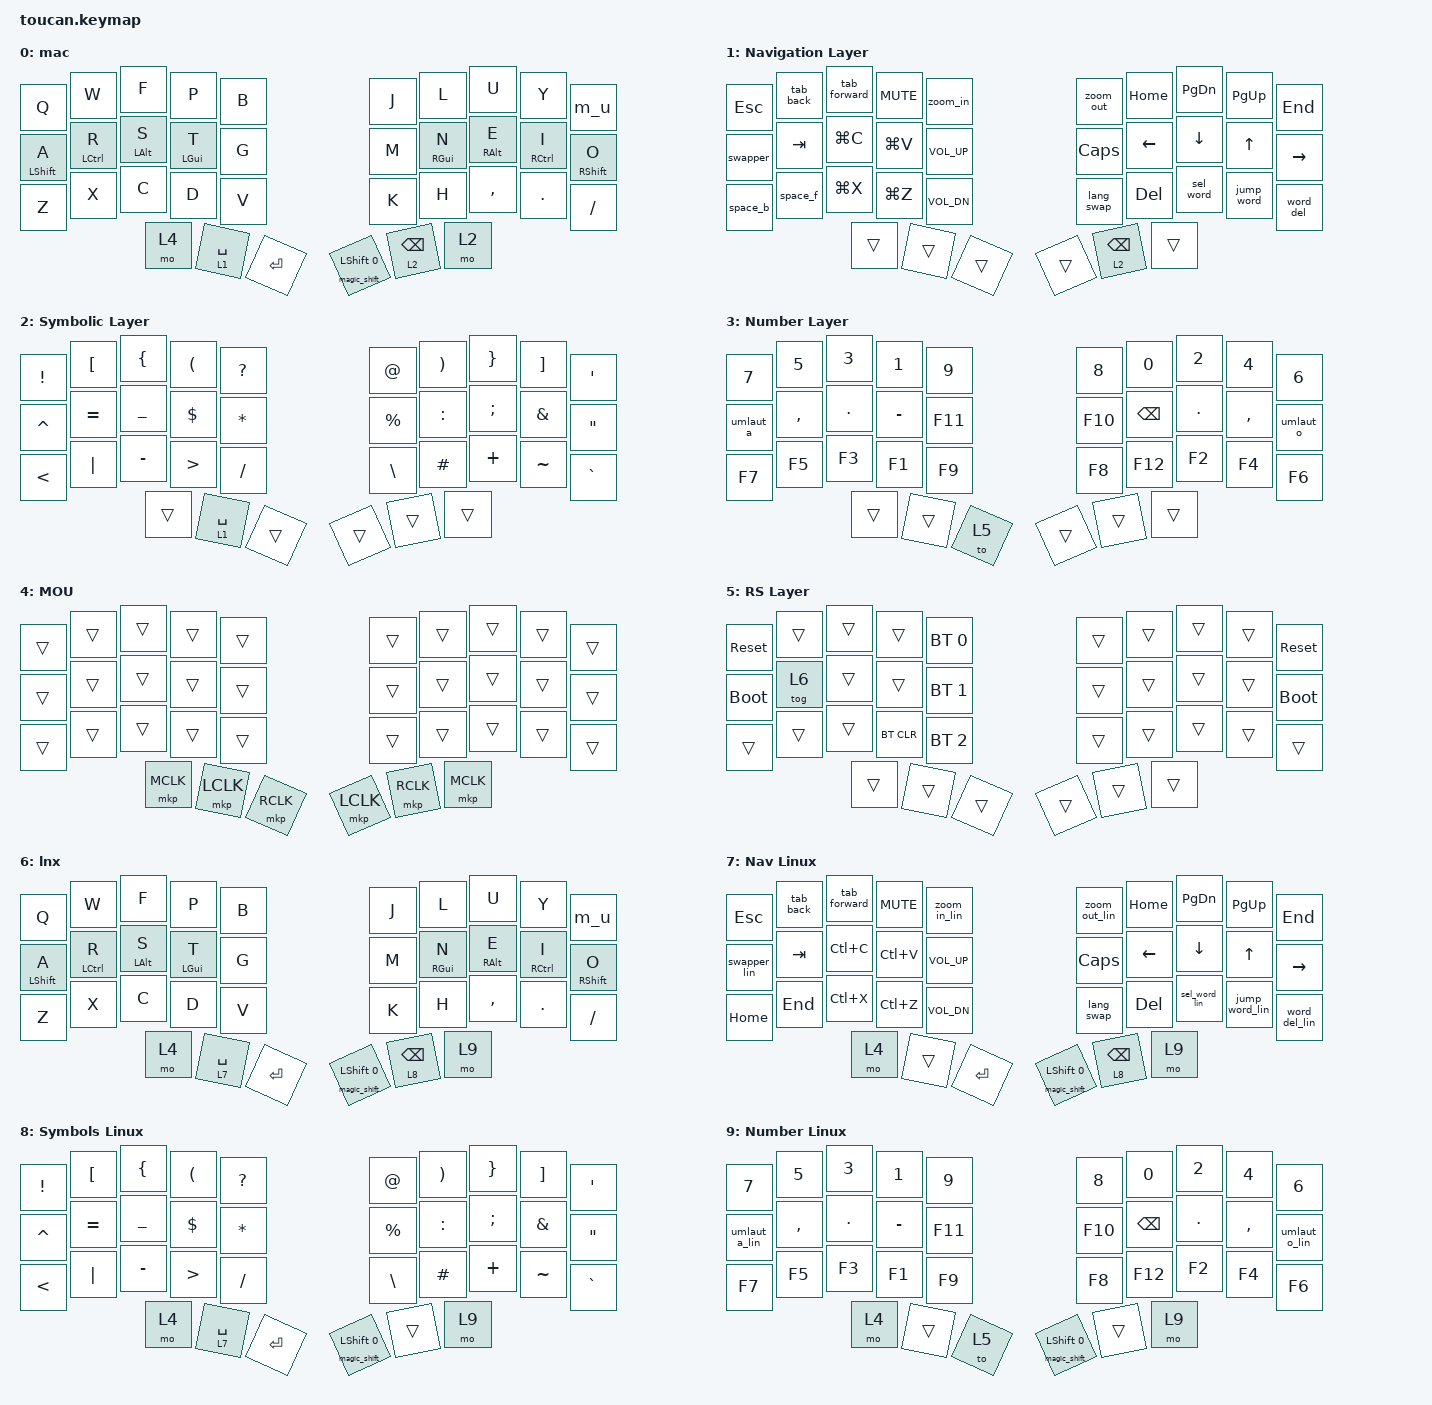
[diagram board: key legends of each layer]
// Copyright (c) 2022 The ZMK Contributors
// SPDX-License-Identifier: MIT

#include <behaviors.dtsi>
#include "zmk-helpers/helper.h"
#include <dt-bindings/zmk/keys.h>
#include <dt-bindings/zmk/bt.h>
#include <dt-bindings/zmk/pointing.h>
#include <dt-bindings/zmk/outputs.h>
#include "toucan_keys.h"
#include "combos.dtsi"

#define KEYS_L   LT4 LT3 LT2 LT1 LT0 LM4 LM3 LM2 LM1 LM0 LB4 LB3 LB2 LB1 LB0
#define KEYS_R   RT0 RT1 RT2 RT3 RT4 RM0 RM1 RM2 RM3 RM4 RB0 RB1 RB2 RB3 RB4
#define THUMBS   LH1 LH0 LHx RH0 RH1 RHx

#define QUICK_TAP_MS 175

#define MAKE_HRM(NAME, HOLD, TAP, TRIGGER_POS)                                 \
  ZMK_HOLD_TAP(NAME, bindings = <HOLD>, <TAP>; flavor = "balanced";            \
               tapping-term-ms = <280>; quick-tap-ms = <QUICK_TAP_MS>;         \
               require-prior-idle-ms = <80>; hold-trigger-on-release;         \
               hold-trigger-key-positions = <TRIGGER_POS>;)

MAKE_HRM(hml, &kp, &kp, KEYS_R THUMBS) // Left-hand HRMs.
MAKE_HRM(hmr, &kp, &kp, KEYS_L THUMBS) // Right-hand HRMs.
#define MAKE_HRM_NO_RELEASE(NAME, HOLD, TAP, TRIGGER_POS)                                 \
  ZMK_HOLD_TAP(NAME, bindings = <HOLD>, <TAP>; flavor = "balanced";            \
               tapping-term-ms = <280>; quick-tap-ms = <QUICK_TAP_MS>;         \
               require-prior-idle-ms = <80>;                                  \
               hold-trigger-key-positions = <TRIGGER_POS>;)
MAKE_HRM_NO_RELEASE(hml2, &kp, &kp, KEYS_R THUMBS) // Left-hand HRMs without hold-trigger-on-release

#define MAGIC_SHIFT &magic_shift LSHFT 0

ZMK_HOLD_TAP(magic_shift, bindings = <&kp>, <&magic_shift_tap>;
             flavor = "balanced"; tapping-term-ms = <200>;
             quick-tap-ms = <175>;)

ZMK_MOD_MORPH(magic_shift_tap, bindings = <&shift_repeat>, <&caps_word>;
              mods = <(MOD_LSFT)>;)

ZMK_ADAPTIVE_KEY(
    shift_repeat, bindings = <&sk LSHFT>;
    repeat {
      trigger-keys = <A B C D E F G H I J K L M N O P Q R S T U V W X Y Z>;
      bindings = <&key_repeat>;
      max-prior-idle-ms = <1200>;
      strict-modifiers;
    };)

&caps_word {
  continue-list = <UNDERSCORE MINUS BACKSPACE>;
  /delete-property/ ignore-modifiers;
};

ZMK_TRI_STATE(swapper, bindings = <&kt LGUI>, <&kp TAB>, <&kt LGUI>;
              ignored-key-positions = <LT2 RM1 RM2 RM3 RM4>;)

// language swap in macos
ZMK_TRI_STATE(lang_swap, bindings = <&kt LCTRL>, <&kp SPACE>, <&kt LCTRL>;
              ignored-key-positions = <RB4>;)

// Linux window switcher (Alt+Tab)
ZMK_TRI_STATE(swapper_lin, bindings = <&kt LALT>, <&kp TAB>, <&kt LALT>;
              ignored-key-positions = <LT2 RM1 RM2 RM3 RM4>;)

/ {
    behaviors {
        m_u: minus_underscore {
            compatible = "zmk,behavior-mod-morph";
            #binding-cells = <0>;
            bindings = <&kp MINUS>, <&kp UNDERSCORE>;
            mods = <(MOD_LSFT|MOD_RSFT)>;
        };

        lt: layer_tap {
            compatible = "zmk,behavior-hold-tap";
            #binding-cells = <2>;
            flavor = "tap-preferred";
            tapping-term-ms = <280>;
            quick-tap-ms = <175>;
            require-prior-idle-ms = <120>;
            bindings = <&mo>, <&kp>;
            display-name = "Layer-Tap";
        };

        jump_word: jump_word {
            compatible = "zmk,behavior-mod-morph";
            #binding-cells = <0>;
            bindings = <&jump_word_f>, <&jump_word_b>;
            mods = <(MOD_LSFT|MOD_RSFT)>;
        };

        sel_word: sel_word {
            compatible = "zmk,behavior-mod-morph";
            #binding-cells = <0>;
            bindings = <&sel_word_f>, <&sel_word_b>;
            mods = <(MOD_LSFT|MOD_RSFT)>;
        };

        jump_word_lin: jump_word_lin {
            compatible = "zmk,behavior-mod-morph";
            #binding-cells = <0>;
            bindings = <&jump_word_f_lin>, <&jump_word_b_lin>;
            mods = <(MOD_LSFT|MOD_RSFT)>;
        };

        sel_word_lin: sel_word_lin {
            compatible = "zmk,behavior-mod-morph";
            #binding-cells = <0>;
            bindings = <&sel_word_f_lin>, <&sel_word_b_lin>;
            mods = <(MOD_LSFT|MOD_RSFT)>;
        };

    };

    macros {
        tab_forward: tab_forward {
            compatible = "zmk,behavior-macro";
            #binding-cells = <0>;
            bindings
                = <&macro_press &kp LCTRL &kp TAB>
                , <&macro_pause_for_release>
                , <&macro_release &kp LCTRL &kp TAB>
                ;
        };

        tab_back: tab_back {
            compatible = "zmk,behavior-macro";
            #binding-cells = <0>;
            bindings
                = <&macro_press &kp LCTRL &kp LSHFT>
                , <&macro_press &kp TAB>
                , <&macro_pause_for_release>
                , <&macro_release &kp TAB>
                , <&macro_release &kp LCTRL &kp LSHFT>
                ;
        };

        space_b: space_b {
            compatible = "zmk,behavior-macro";
            #binding-cells = <0>;
            bindings
                = <&macro_press &kp LCTRL &kp LEFT>
                , <&macro_pause_for_release>
                , <&macro_release &kp LCTRL &kp LEFT>
                ;
        };

        space_f: space_f {
            compatible = "zmk,behavior-macro";
            #binding-cells = <0>;
            bindings
                = <&macro_press &kp LCTRL &kp RIGHT>
                , <&macro_pause_for_release>
                , <&macro_release &kp LCTRL &kp RIGHT>
                ;
        };

        jump_word_f: jump_word_f {
            compatible = "zmk,behavior-macro";
            #binding-cells = <0>;
            bindings
                = <&macro_press &kp LALT &kp RIGHT>
                , <&macro_pause_for_release>
                , <&macro_release &kp LALT &kp RIGHT>
                ;
        };

        jump_word_b: word_b {
            compatible = "zmk,behavior-macro";
            #binding-cells = <0>;
            bindings
                = <&macro_press &kp LALT &kp LEFT>
                , <&macro_pause_for_release>
                , <&macro_release &kp LALT &kp LEFT>
                ;
        };

        sel_word_f: sel_word_f {
            compatible = "zmk,behavior-macro";
            #binding-cells = <0>;
            bindings
                = <&macro_press &kp LSHFT &kp LALT &kp RIGHT>
                , <&macro_pause_for_release>
                , <&macro_release &kp LSHFT &kp LALT &kp RIGHT>
                ;
        };

        sel_word_b: sel_word_b {
            compatible = "zmk,behavior-macro";
            #binding-cells = <0>;
            bindings
                = <&macro_press &kp LSHFT &kp LALT &kp LEFT>
                , <&macro_wait_time 5>
                , <&macro_pause_for_release>
                , <&macro_release &kp LSHFT &kp LALT &kp LEFT>
                ;
        };

        word_del: word_del {
            compatible = "zmk,behavior-macro";
            #binding-cells = <0>;
            bindings
                = <&macro_press &kp LCTRL>
                , <&macro_tap &kp W>
                , <&macro_release &kp LCTRL>
                ;
        };

        zoom_in: zoom_in {
            compatible = "zmk,behavior-macro";
            #binding-cells = <0>;
            bindings
                = <&macro_press &kp LGUI>
                , <&macro_tap &kp PLUS>
                , <&macro_release &kp LGUI>
                ;
        };

        zoom_out: zoom_out {
            compatible = "zmk,behavior-macro";
            #binding-cells = <0>;
            bindings
                = <&macro_press &kp LGUI>
                , <&macro_tap &kp MINUS>
                , <&macro_release &kp LGUI>
                ;
        };


        // these work only on macOS
        umlaut_a: umlaut_a {
            compatible = "zmk,behavior-macro";
            #binding-cells = <0>;
            bindings
                = <&macro_press &kp LALT>
                , <&macro_tap &kp U>
                , <&macro_release &kp LALT>
                , <&macro_tap &kp A>
                ;
        };

        umlaut_o: umlaut_o {
            compatible = "zmk,behavior-macro";
            #binding-cells = <0>;
            bindings
                = <&macro_press &kp LALT>
                , <&macro_tap &kp U>
                , <&macro_release &kp LALT>
                , <&macro_tap &kp O>
                ;
        };

        // Linux-specific macros (Ctrl-based shortcuts, Compose umlauts)
        zoom_in_lin: zoom_in_lin {
            compatible = "zmk,behavior-macro";
            #binding-cells = <0>;
            bindings
                = <&macro_press &kp LCTRL>
                , <&macro_tap &kp PLUS>
                , <&macro_release &kp LCTRL>
                ;
        };

        zoom_out_lin: zoom_out_lin {
            compatible = "zmk,behavior-macro";
            #binding-cells = <0>;
            bindings
                = <&macro_press &kp LCTRL>
                , <&macro_tap &kp MINUS>
                , <&macro_release &kp LCTRL>
                ;
        };

        jump_word_f_lin: jump_word_f_lin {
            compatible = "zmk,behavior-macro";
            #binding-cells = <0>;
            bindings
                = <&macro_press &kp LCTRL &kp RIGHT>
                , <&macro_pause_for_release>
                , <&macro_release &kp LCTRL &kp RIGHT>
                ;
        };

        jump_word_b_lin: word_b_lin {
            compatible = "zmk,behavior-macro";
            #binding-cells = <0>;
            bindings
                = <&macro_press &kp LCTRL &kp LEFT>
                , <&macro_pause_for_release>
                , <&macro_release &kp LCTRL &kp LEFT>
                ;
        };

        sel_word_f_lin: sel_word_f_lin {
            compatible = "zmk,behavior-macro";
            #binding-cells = <0>;
            bindings
                = <&macro_press &kp LSHFT &kp LCTRL &kp RIGHT>
                , <&macro_pause_for_release>
                , <&macro_release &kp LSHFT &kp LCTRL &kp RIGHT>
                ;
        };

        sel_word_b_lin: sel_word_b_lin {
            compatible = "zmk,behavior-macro";
            #binding-cells = <0>;
            bindings
                = <&macro_press &kp LSHFT &kp LCTRL &kp LEFT>
                , <&macro_wait_time 5>
                , <&macro_pause_for_release>
                , <&macro_release &kp LSHFT &kp LCTRL &kp LEFT>
                ;
        };

        word_del_lin: word_del_lin {
            compatible = "zmk,behavior-macro";
            #binding-cells = <0>;
            bindings
                = <&macro_press &kp LCTRL>
                , <&macro_tap &kp BSPC>
                , <&macro_release &kp LCTRL>
                ;
        };

        umlaut_a_lin: umlaut_a_lin {
            compatible = "zmk,behavior-macro";
            #binding-cells = <0>;
            bindings
                = <&macro_press &kp RALT>
                , <&macro_release &kp RALT>
                , <&macro_tap &kp DQT>
                , <&macro_tap &kp A>
                ;
            // Requires Right Alt configured as Compose key on Linux.
        };

        umlaut_o_lin: umlaut_o_lin {
            compatible = "zmk,behavior-macro";
            #binding-cells = <0>;
            bindings
                = <&macro_press &kp RALT>
                , <&macro_release &kp RALT>
                , <&macro_tap &kp DQT>
                , <&macro_tap &kp O>
                ;
            // Requires Right Alt configured as Compose key on Linux.
        };

    };

    conditional_layers {
        compatible = "zmk,conditional-layers";
        tri_layer {
            if-layers = <1 2>;
            then-layer = <3>;
        };
        tri_layer_lin {
            if-layers = <7 8>;
            then-layer = <9>;
        };
    };

    keymap {
        compatible = "zmk,keymap";
        default_layer {
            display-name = "mac";
            bindings = <
        //╭──────────┬──────────┬──────────┬──────────┬──────────┬──────────╮   ╭──────────┬──────────┬──────────┬──────────┬──────────┬──────────╮
        //│  none    │  Q       │  W       │  F       │  P       │  B       │   │  J       │  L       │  U       │  Y       │  - / _   │  none    │
            &kp Q   &kp W   &kp F   &kp P   &kp B   &kp J   &kp L   &kp U   &kp Y   &m_u
        //├──────────┼──────────┼──────────┼──────────┼──────────┼──────────┤   ├──────────┼──────────┼──────────┼──────────┼──────────┼──────────┤
        //│  none    │  A       │  R       │  S       │  T       │  G       │   │  M       │  N       │  E       │  I       │   O      │  none    │
        &hml2 LSHFT A   &hml2 LCTRL R   &hml2 LALT S   &hml2 LGUI T   &kp G   &kp M   &hmr RGUI N   &hmr RALT E   &hmr RCTRL I   &hmr RSHFT O
        //├──────────┼──────────┼──────────┼──────────┼──────────┼──────────┤   ├──────────┼──────────┼──────────┼──────────┼──────────┼──────────┤
        //│  none    │  Z       │  X       │  C       │  D       │  V       │   │  K       │  H       │ , <      │ . >      │ / ?      │  none    │
            &kp Z   &kp X   &kp C   &kp D   &kp V   &kp K   &kp H   &kp COMMA   &kp DOT   &kp FSLH
        //╰──────────┴──────────┴──────────┼──────────┼──────────┼──────────┤   ├──────────┼──────────┼──────────┴──────────┴──────────┴──────────╯
                                            &mo 4      &lt 1 SPACE  &kp ENTER      MAGIC_SHIFT &lt 2 BSPC    &mo 2
        //                                 ╰──────────┴──────────┴──────────╯   ╰──────────┴──────────┴──────────╯
            >;
        };

        nav_layer {
            display-name = "Navigation Layer";
            bindings = <
        //╭──────────┬──────────┬──────────┬──────────┬──────────┬──────────╮   ╭──────────┬──────────┬──────────┬──────────┬──────────┬──────────╮
        //│  none    │  ESC     │ TAB BACK │ TAB FWD  │ MUTE     │ ZOOM IN  │   │  ZOOM OUT│  HOME    │ PAGE DN  │ PAGE UP  │ END      │  none    │
            &kp ESC   &tab_back   &tab_forward   &kp C_MUTE   &zoom_in   &zoom_out   &kp HOME   &kp PG_DN   &kp PG_UP   &kp END
        //├──────────┼──────────┼──────────┼──────────┼──────────┼──────────┤   ├──────────┼──────────┼──────────┼──────────┼──────────┼──────────┤
        //│  none    │ WIN-SWAP │  TAB     | COPY     │ PASTE    | VOL_UP   │   │ CAPSLOCK |  LEFT    │ DOWN     │ UP       │ RIGHT    │  none    │
            &swapper   &kp TAB   &kp LG(C)   &kp LG(V)   &kp C_VOL_UP   &kp CAPS   &kp LEFT   &kp DOWN   &kp UP   &kp RIGHT
        //├──────────┼──────────┼──────────┼──────────┼──────────┼──────────┤   ├──────────┼──────────┼──────────┼──────────┼──────────┼──────────┤
        //│  none    │ SPACE B  │ SPACE F  │  CUT     │  UNDO    │ VOL_DOWN │   │ lang_swap│  DEL     | SEL WORD | JUMP WORD| WORD DEL │  none    │
            &space_b   &space_f   &kp LG(X)   &kp LG(Z)   &kp C_VOL_DN   &lang_swap   &kp DEL   &sel_word   &jump_word   &word_del
        //╰──────────┴──────────┴──────────┼──────────┼──────────┼──────────┤   ├──────────┼──────────┼──────────┴──────────┴──────────┴──────────╯
                                            &trans      &trans      &trans         &trans      &lt 2 BSPC     &trans
        //                                 ╰──────────┴──────────┴──────────╯   ╰──────────┴──────────┴──────────╯
            >;
        };

        sym_layer {
            display-name = "Symbolic Layer";
            bindings = <
        //╭──────────┬──────────┬──────────┬──────────┬──────────┬──────────╮   ╭──────────┬──────────┬──────────┬──────────┬──────────┬──────────╮
        //│  none    │  !       │  [       │  {       │  (       │  ?       │   │  @       │  )       │  }       │  ]       │  '       │  none    │
           &kp EXCL   &kp LBKT   &kp LBRC   &kp LPAR   &kp QMARK   &kp AT_SIGN   &kp RPAR   &kp RBRC   &kp RBKT   &kp SQT
        //├──────────┼──────────┼──────────┼──────────┼──────────┼──────────┤   ├──────────┼──────────┼──────────┼──────────┼──────────┼──────────┤
        //│  none    │  ^       │  =       │  _       │  $       │  *       │   │  %       │  :       │  ;       │  &       │  "       │  none    │
           &kp CARET   &kp EQUAL   &kp UNDER   &kp DLLR   &kp ASTRK   &kp PRCNT   &kp COLON   &kp SEMI   &kp AMPS   &kp DQT
        //├──────────┼──────────┼──────────┼──────────┼──────────┼──────────┤   ├──────────┼──────────┼──────────┼──────────┼──────────┼──────────┤
        //│  none    │  <       │  |       │  -       │  >       │  /       │   │  \       │  #       │  +       │  ~       │  `       │  none    │
            &kp LT   &kp PIPE   &kp MINUS   &kp GT   &kp SLASH   &kp BSLH   &kp HASH   &kp PLUS   &kp TILDE   &kp GRAVE
        //╰──────────┴──────────┴──────────┼──────────┼──────────┼──────────┤   ├──────────┼──────────┼──────────┴──────────┴──────────┴──────────╯
                                            &trans      &lt 1 SPACE      &trans         &trans      &trans     &trans
        //                                 ╰──────────┴──────────┴──────────╯   ╰──────────┴──────────┴──────────╯
            >;
        };

        num_layer {
            display-name = "Number Layer";
            bindings = <
        //╭──────────┬──────────┬──────────┬──────────┬──────────┬──────────╮   ╭──────────┬──────────┬──────────┬──────────┬──────────┬──────────╮
        //│  none    │  7       │  5       │  3       │  1       │  9       │   │  8       │  0       │  2       │  4       │  6       │  none    │
            &kp N7   &kp N5   &kp N3   &kp N1   &kp N9   &kp N8   &kp N0   &kp N2   &kp N4   &kp N6
        //├──────────┼──────────┼──────────┼──────────┼──────────┼──────────┤   ├──────────┼──────────┼──────────┼──────────┼──────────┼──────────┤
        //│  none    │  ä       │  ,       │  .       │  -       │  F11     │   │  F10     │  BSPC    │  .       │  ,       │  ö       │  none    │
            &umlaut_a   &kp COMMA   &kp DOT   &kp MINUS   &kp F11   &kp F10   &kp BSPC   &kp DOT   &kp COMMA   &umlaut_o
        //├──────────┼──────────┼──────────┼──────────┼──────────┼──────────┤   ├──────────┼──────────┼──────────┼──────────┼──────────┼──────────┤
        //│  none    │  F7      │  F5      │  F3      │ F1       │  F9      │   │  F8      │  F12     │  F2      │  F4      │  F6      │  none    │
            &kp F7   &kp F5   &kp F3   &kp F1   &kp F9   &kp F8   &kp F12   &kp F2   &kp F4   &kp F6
        //╰──────────┴──────────┴──────────┼──────────┼──────────┼──────────┤   ├──────────┼──────────┼──────────┴──────────┴──────────┴──────────╯
                                            &trans      &trans      &to 5            &trans      &trans     &trans
        //                                 ╰──────────┴──────────┴──────────╯   ╰──────────┴──────────┴──────────╯
            >;
        };

        mouse {
            display-name = "MOU";
            bindings = <
                &trans   &trans   &trans   &trans   &trans   &trans   &trans   &trans   &trans   &trans
                &trans   &trans   &trans   &trans   &trans   &trans   &trans   &trans   &trans   &trans
                &trans   &trans   &trans   &trans   &trans   &trans   &trans   &trans   &trans   &trans
                            &mkp MCLK &mkp LCLK &mkp RCLK           &mkp LCLK &mkp RCLK &mkp MCLK
            >;
        };

        rs_layer {
            display-name = "RS Layer";
            bindings = <
        //╭──────────┬──────────┬──────────┬──────────┬──────────┬──────────╮   ╭──────────┬──────────┬──────────┬──────────┬──────────┬──────────╮
        //│  none    │ RESET    │          │          │          │PROFILE 0 │   │          │          │          │          │  RESET   │  none    │
           &sys_reset   &trans   &trans   &trans   &bt BT_SEL 0   &trans   &trans   &trans   &trans   &sys_reset
        //├──────────┼──────────┼──────────┼──────────┼──────────┼──────────┤   ├──────────┼──────────┼──────────┼──────────┼──────────┼──────────┤
        //│  none    │BOOTLOADER│ LINUX-TOG│          │          │PROFILE 1 │   │          │          │          │          │BOOTLOADER│  none    │
          &bootloader   &tog 6   &trans   &trans   &bt BT_SEL 1   &trans   &trans   &trans   &trans   &bootloader
        //├──────────┼──────────┼──────────┼──────────┼──────────┼──────────┤   ├──────────┼──────────┼──────────┼──────────┼──────────┼──────────┤
        //│  none    │          │          │          │ CLEAR BT │PROFILE 2 │   │          │          │          │          │          │  none    │
            &trans   &trans   &trans   &bt BT_CLR   &bt BT_SEL 2   &trans   &trans   &trans   &trans   &trans
        //╰──────────┴──────────┴──────────┼──────────┼──────────┼──────────┤   ├──────────┼──────────┼──────────┴──────────┴──────────┴──────────╯
                                            &trans      &trans      &trans         &trans      &trans     &trans
        //                                 ╰──────────┴──────────┴──────────╯   ╰──────────┴──────────┴──────────╯
            >;
        };

        lin_overlay {
            display-name = "lnx";
            bindings = <
        //╭──────────┬──────────┬──────────┬──────────┬──────────┬──────────╮   ╭──────────┬──────────┬──────────┬──────────┬──────────┬──────────╮
        //│          │          │          │          │          │          │   │          │          │          │          │          │          │
            &kp Q   &kp W   &kp F   &kp P   &kp B   &kp J   &kp L   &kp U   &kp Y   &m_u
        //├──────────┼──────────┼──────────┼──────────┼──────────┼──────────┤   ├──────────┼──────────┼──────────┼──────────┼──────────┼──────────┤
        //│          │          │          │          │          │          │   │          │          │          │          │          │          │
        &hml2 LSHFT A   &hml2 LCTRL R   &hml2 LALT S   &hml2 LGUI T   &kp G   &kp M   &hmr RGUI N   &hmr RALT E   &hmr RCTRL I   &hmr RSHFT O
        //├──────────┼──────────┼──────────┼──────────┼──────────┼──────────┤   ├──────────┼──────────┼──────────┼──────────┼──────────┼──────────┤
        //│          │          │          │          │          │          │   │          │          │          │          │          │          │
            &kp Z   &kp X   &kp C   &kp D   &kp V   &kp K   &kp H   &kp COMMA   &kp DOT   &kp FSLH
        //╰──────────┴──────────┴──────────┼──────────┼──────────┼──────────┤   ├──────────┼──────────┼──────────┴──────────┴──────────┴──────────╯
                                             &mo 4    &lt 7 SPACE  &kp ENTER    MAGIC_SHIFT  &lt 8 BSPC  &mo 9
        //                                 ╰──────────┴──────────┴──────────╯   ╰──────────┴──────────┴──────────╯
            >;
        };

        nav_lin {
            display-name = "Nav Linux";
            bindings = <
        //╭──────────┬──────────┬──────────┬──────────┬──────────┬──────────╮   ╭──────────┬──────────┬──────────┬──────────┬──────────┬──────────╮
        //│  none    │  ESC     │ TAB BACK │ TAB FWD  │ MUTE     │ ZOOM IN  │   │  ZOOM OUT│  HOME    │ PAGE DN  │ PAGE UP  │ END      │  none    │
            &kp ESC   &tab_back   &tab_forward   &kp C_MUTE   &zoom_in_lin   &zoom_out_lin   &kp HOME   &kp PG_DN   &kp PG_UP   &kp END
        //├──────────┼──────────┼──────────┼──────────┼──────────┼──────────┤   ├──────────┼──────────┼──────────┼──────────┼──────────┼──────────┤
        //│  none    │ ALT-TAB  │  TAB     | COPY     │ PASTE    | VOL_UP   │   │ CAPSLOCK |  LEFT    │ DOWN     │ UP       │ RIGHT    │  none    │
            &swapper_lin   &kp TAB   &kp LC(C)   &kp LC(V)   &kp C_VOL_UP   &kp CAPS   &kp LEFT   &kp DOWN   &kp UP   &kp RIGHT
        //├──────────┼──────────┼──────────┼──────────┼──────────┼──────────┤   ├──────────┼──────────┼──────────┼──────────┼──────────┼──────────┤
        //│  none    │ HOME     │ END      │  CUT     │  UNDO    │ VOL_DOWN │   │ lang_swap│  DEL     | SEL WORD | JUMP WORD| WORD DEL │  none    │
            &kp HOME   &kp END   &kp LC(X)   &kp LC(Z)   &kp C_VOL_DN   &lang_swap   &kp DEL   &sel_word_lin   &jump_word_lin   &word_del_lin
        //╰──────────┴──────────┴──────────┼──────────┼──────────┼──────────┤   ├──────────┼──────────┼──────────┴──────────┴──────────┴──────────╯
                                            &mo 4       &trans      &kp ENTER    MAGIC_SHIFT  &lt 8 BSPC  &mo 9
        //                                 ╰──────────┴──────────┴──────────╯   ╰──────────┴──────────┴──────────╯
            >;
        };

        
        sym_lin {
            display-name = "Symbols Linux";
            bindings = <
        //╭──────────┬──────────┬──────────┬──────────┬──────────┬──────────╮   ╭──────────┬──────────┬──────────┬──────────┬──────────┬──────────╮
        //│  none    │  !       │  [       │  {       │  (       │  ?       │   │  @       │  )       │  }       │  ]       │  '       │  none    │
           &kp EXCL   &kp LBKT   &kp LBRC   &kp LPAR   &kp QMARK   &kp AT_SIGN   &kp RPAR   &kp RBRC   &kp RBKT   &kp SQT
        //├──────────┼──────────┼──────────┼──────────┼──────────┼──────────┤   ├──────────┼──────────┼──────────┼──────────┼──────────┼──────────┤
        //│  none    │  ^       │  =       │  _       │  $       │  *       │   │  %       │  :       │  ;       │  &       │  "       │  none    │
           &kp CARET   &kp EQUAL   &kp UNDER   &kp DLLR   &kp ASTRK   &kp PRCNT   &kp COLON   &kp SEMI   &kp AMPS   &kp DQT
        //├──────────┼──────────┼──────────┼──────────┼──────────┼──────────┤   ├──────────┼──────────┼──────────┼──────────┼──────────┼──────────┤
        //│  none    │  <       │  |       │  -       │  >       │  /       │   │  \       │  #       │  +       │  ~       │  `       │  none    │
            &kp LT   &kp PIPE   &kp MINUS   &kp GT   &kp SLASH   &kp BSLH   &kp HASH   &kp PLUS   &kp TILDE   &kp GRAVE
        //╰──────────┴──────────┴──────────┼──────────┼──────────┼──────────┤   ├──────────┼──────────┼──────────┴──────────┴──────────┴──────────╯
                                            &mo 4       &lt 7 SPACE &kp ENTER    MAGIC_SHIFT &trans      &mo 9
        //                                 ╰──────────╴──────────╴──────────╯   ╰──────────╴──────────╴──────────╯
            >;
        };

        num_lin {
            display-name = "Number Linux";
            bindings = <
        //╭──────────┬──────────┬──────────┬──────────┬──────────┬──────────╮   ╭──────────┬──────────┬──────────┬──────────┬──────────┬──────────╮
        //│  none    │  7       │  5       │  3       │  1       │  9       │   │  8       │  0       │  2       │  4       │  6       │  none    │
            &kp N7   &kp N5   &kp N3   &kp N1   &kp N9   &kp N8   &kp N0   &kp N2   &kp N4   &kp N6
        //├──────────┼──────────┼──────────┼──────────┼──────────┼──────────┤   ├──────────┼──────────┼──────────┼──────────┼──────────┼──────────┤
        //│  none    │  ä       │  ,       │  .       │  -       │  F11     │   │  F10     │  BSPC    │  .       │  ,       │  ö       │  none    │
            &umlaut_a_lin   &kp COMMA   &kp DOT   &kp MINUS   &kp F11   &kp F10   &kp BSPC   &kp DOT   &kp COMMA   &umlaut_o_lin
        //├──────────┼──────────┼──────────┼──────────┼──────────┼──────────┤   ├──────────┼──────────┼──────────┼──────────┼──────────┼──────────┤
        //│  none    │  F7      │  F5      │  F3      │ F1       │  F9      │   │  F8      │  F12     │  F2      │  F4      │  F6      │  none    │
            &kp F7   &kp F5   &kp F3   &kp F1   &kp F9   &kp F8   &kp F12   &kp F2   &kp F4   &kp F6
        //╰──────────┴──────────┴──────────┼──────────┼──────────┼──────────┤   ├──────────┼──────────┼──────────┴──────────┴──────────┴──────────╯
                                            &mo 4       &trans      &to 5            MAGIC_SHIFT &trans      &mo 9
        //                                 ╰──────────┴──────────┴──────────╯   ╰──────────┴──────────┴──────────╯
            >;
        };


        extra_3 {
                status = "reserved";
        };
    };

};
